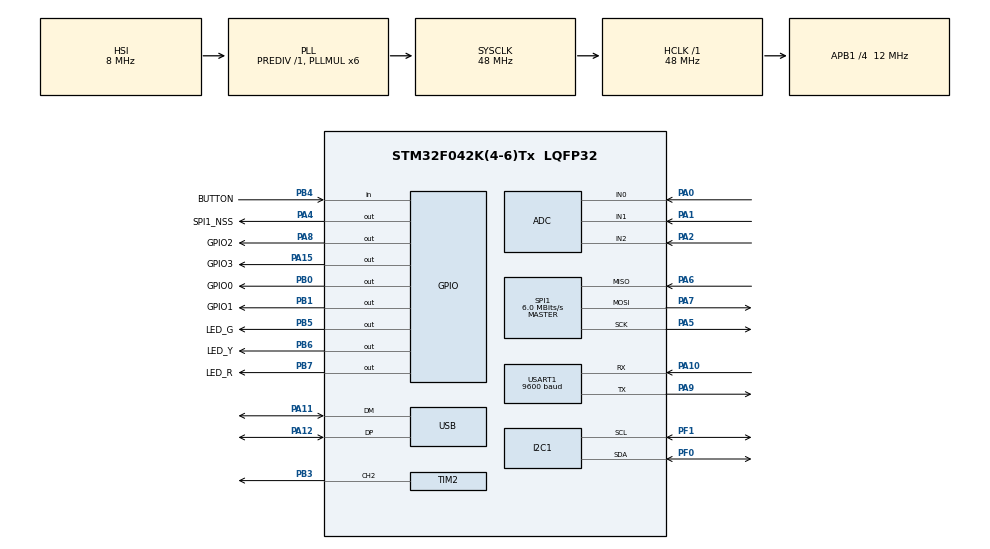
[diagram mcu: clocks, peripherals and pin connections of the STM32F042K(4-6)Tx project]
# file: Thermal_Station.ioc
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Dma.ADC.0.Direction=DMA_PERIPH_TO_MEMORY
Dma.ADC.0.Instance=DMA1_Channel1
Dma.ADC.0.MemDataAlignment=DMA_MDATAALIGN_HALFWORD
Dma.ADC.0.MemInc=DMA_MINC_ENABLE
Dma.ADC.0.Mode=DMA_CIRCULAR
Dma.ADC.0.PeriphDataAlignment=DMA_PDATAALIGN_HALFWORD
Dma.ADC.0.PeriphInc=DMA_PINC_DISABLE
Dma.ADC.0.Priority=DMA_PRIORITY_LOW
Dma.Request0=ADC
I2C1.Timing=0x00201D2B
Mcu.Family=STM32F0
Mcu.Name=STM32F042K(4-6)Tx
Mcu.Package=LQFP32
NVIC.DMA1_Channel1_IRQn=true\:0\:0\:false\:false\:true\:false\:true\:true
NVIC.TIM16_IRQn=true\:0\:0\:false\:false\:true\:true\:true\:true
NVIC.TIM2_IRQn=true\:0\:0\:false\:false\:true\:true\:true\:true
NVIC.USART1_IRQn=true\:0\:0\:false\:false\:true\:true\:true\:true
PA0.Mode=IN0
PA0.Signal=ADC_IN0
PA1.Mode=IN1
PA1.Signal=ADC_IN1
PA10.Mode=Asynchronous
PA10.Signal=USART1_RX
PA11.Mode=Device
PA11.Signal=USB_DM
PA12.Mode=Device
PA12.Signal=USB_DP
PA15.GPIO_Label=GPIO3
PA15.Signal=GPIO_Output
PA2.Mode=IN2
PA2.Signal=ADC_IN2
PA4.GPIO_Label=SPI1_NSS
PA4.Signal=GPIO_Output
PA5.Mode=Full_Duplex_Master
PA5.Signal=SPI1_SCK
PA6.Mode=Full_Duplex_Master
PA6.Signal=SPI1_MISO
PA7.Mode=Full_Duplex_Master
PA7.Signal=SPI1_MOSI
PA8.GPIO_Label=GPIO2
PA8.Signal=GPIO_Output
PA9.Mode=Asynchronous
PA9.Signal=USART1_TX
PB0.GPIO_Label=GPIO0
PB0.Signal=GPIO_Output
PB1.GPIO_Label=GPIO1
PB1.Signal=GPIO_Output
PB3.Signal=S_TIM2_CH2
PB4.GPIO_Label=BUTTON
PB4.Signal=GPIO_Input
PB5.GPIO_Label=LED_G
PB5.Signal=GPIO_Output
PB6.GPIO_Label=LED_Y
PB6.Signal=GPIO_Output
PB7.GPIO_Label=LED_R
PB7.Signal=GPIO_Output
PF0-OSC_IN.Mode=I2C
PF0-OSC_IN.Signal=I2C1_SDA
PF1-OSC_OUT.Mode=I2C
PF1-OSC_OUT.Signal=I2C1_SCL
ProjectManager.HeapSize=0x200
ProjectManager.StackSize=0x400
ProjectManager.TargetToolchain=STM32CubeIDE
RCC.AHBFreq_Value=48000000
RCC.APB1CLKDivider=RCC_HCLK_DIV4
RCC.APB1Freq_Value=12000000
RCC.APB1TimFreq_Value=24000000
RCC.HCLKFreq_Value=48000000
RCC.PLLMUL=RCC_PLL_MUL6
RCC.SYSCLKFreq_VALUE=48000000
RCC.SYSCLKSource=RCC_SYSCLKSOURCE_PLLCLK
SH.S_TIM2_CH2.0=TIM2_CH2,PWM Generation2 CH2
SPI1.CLKPhase=SPI_PHASE_2EDGE
SPI1.CLKPolarity=SPI_POLARITY_LOW
SPI1.CalculateBaudRate=6.0 MBits/s
SPI1.DataSize=SPI_DATASIZE_8BIT
SPI1.Direction=SPI_DIRECTION_2LINES
SPI1.Mode=SPI_MODE_MASTER
SPI1.VirtualType=VM_MASTER
TIM16.AutoReloadPreload=TIM_AUTORELOAD_PRELOAD_ENABLE
TIM16.Period=23999
TIM16.Prescaler=999
TIM2.Channel-PWM\ Generation2\ CH2=TIM_CHANNEL_2
TIM2.Period=99
TIM2.Prescaler=239
TIM2.Pulse-PWM\ Generation2\ CH2=1
USART1.BaudRate=9600
USART1.VirtualMode-Asynchronous=VM_ASYNC
VP_TIM16_VS_ClockSourceINT.Mode=Enable_Timer
board=custom

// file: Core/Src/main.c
/* USER CODE BEGIN Header */
/**
  ******************************************************************************
  * @file           : main.c
  * @brief          : Main program body
  ******************************************************************************
  * @attention
  *
  * Copyright (c) 2025 STMicroelectronics.
  * All rights reserved.
  *
  * This software is licensed under terms that can be found in the LICENSE file
  * in the root directory of this software component.
  * If no LICENSE file comes with this software, it is provided AS-IS.
  *
  * implementare sensore temperatura spi
  * implementare pwm to sin
  * implementare gpio expander
  * implementare sdcard
  ******************************************************************************
  */
/* USER CODE END Header */
#include "main.h"
#include "adc.h"
#include "dma.h"
#include "i2c.h"
#include "spi.h"
#include "tim.h"
#include "usart.h"
#include "usb.h"
#include "gpio.h"

/* USER CODE BEGIN Includes */
#include "uart_ble.h"
#include "tsens.h"
#include <string.h>
#include <stdio.h>
#include <stdlib.h>
#include <stdbool.h>
/* USER CODE END Includes */

/* USER CODE BEGIN PTD */
extern TIM_HandleTypeDef htim16;
extern TIM_HandleTypeDef htim2;
/* USER CODE END PTD */

/* USER CODE BEGIN PV */
uint32_t value_adc;
uint32_t value_dac=0;
extern uint8_t tsens_flag_analizer;
uint8_t msgbuffer [25] = {0};
#define maxperiod 100
#define minperiod 1
uint32_t period_t2 = 1;
bool pwm_flag = true;
/* USER CODE END PV */

void SystemClock_Config(void);
/* USER CODE BEGIN PFP */
bool cmd_command_analizing(uint8_t *cmd);
/* USER CODE END PFP */

/* USER CODE BEGIN 0 */
extern ADC_HandleTypeDef hadc;
extern UART_HandleTypeDef huart1;
extern SPI_HandleTypeDef hspi1;
extern TIM_HandleTypeDef htim2;

void pwm_for_sin(){
	if (pwm_flag == true){
		if (period_t2 < maxperiod){
			period_t2 ++;
		}else{
			period_t2 --;
			pwm_flag = false;
		}
		__HAL_TIM_SET_COMPARE(&htim2, TIM_CHANNEL_2, period_t2);
	}else{
		if (period_t2 > minperiod){
			period_t2 --;
		}else{
			period_t2 ++;
			pwm_flag = true;
		}
		__HAL_TIM_SET_COMPARE(&htim2, TIM_CHANNEL_2, period_t2);
	}
	/*
	if (value == 0){
		HAL_TIM_Base_Stop_IT(&htim2);
		HAL_TIM_OC_Stop_IT(&htim2, TIM_CHANNEL_1);
	}
	else if(value<=100){
		HAL_TIM_Base_Start_IT(&htim2);
		HAL_TIM_OC_Start_IT(&htim2, TIM_CHANNEL_1);
		__HAL_TIM_SET_COMPARE(&htim2, TIM_CHANNEL_1, value-1);
		led1_brightness = value;
	}*/
}

/* USER CODE END 0 */

int main(void)
{

  /* MCU Configuration--------------------------------------------------------*/

  /* Reset of all peripherals, Initializes the Flash interface and the Systick. */
  HAL_Init();

  /* Configure the system clock */
  SystemClock_Config();

  /* Initialize all configured peripherals */
  MX_GPIO_Init();
  MX_DMA_Init();
  MX_ADC_Init();
  MX_I2C1_Init();
  MX_SPI1_Init();
  MX_USART1_UART_Init();
  MX_USB_PCD_Init();
  MX_TIM16_Init();
  MX_TIM2_Init();

  /* Infinite loop */
  /* USER CODE BEGIN WHILE */
  uint8_t command[100];
  uart_ble_init(&huart1);
  uart_ble_transmit((uint8_t*)"status ok");
  analog_tsens_init(&hadc, ADC_CHANNEL_0);
  HAL_TIM_Base_Start_IT(&htim16);
  HAL_TIM_Base_Start_IT(&htim2);
  HAL_TIM_PWM_Start_IT(&htim2, TIM_CHANNEL_2);

  while (1)
  {
	  if (tsens_flag_analizer == 1){

	  }
	  if (uart_ble_pop_cmd(command) == true){
		  cmd_command_analizing(command);
	  }

    /* USER CODE END WHILE */

  }
}

void SystemClock_Config(void)
{
  RCC_OscInitTypeDef RCC_OscInitStruct = {0};
  RCC_ClkInitTypeDef RCC_ClkInitStruct = {0};
  RCC_PeriphCLKInitTypeDef PeriphClkInit = {0};

  /** Initializes the RCC Oscillators according to the specified parameters
  * in the RCC_OscInitTypeDef structure.
  */
  RCC_OscInitStruct.OscillatorType = RCC_OSCILLATORTYPE_HSI|RCC_OSCILLATORTYPE_HSI14
                              |RCC_OSCILLATORTYPE_HSI48;
  RCC_OscInitStruct.HSIState = RCC_HSI_ON;
  RCC_OscInitStruct.HSI48State = RCC_HSI48_ON;
  RCC_OscInitStruct.HSI14State = RCC_HSI14_ON;
  RCC_OscInitStruct.HSICalibrationValue = RCC_HSICALIBRATION_DEFAULT;
  RCC_OscInitStruct.HSI14CalibrationValue = 16;
  RCC_OscInitStruct.PLL.PLLState = RCC_PLL_ON;
  RCC_OscInitStruct.PLL.PLLSource = RCC_PLLSOURCE_HSI;
  RCC_OscInitStruct.PLL.PLLMUL = RCC_PLL_MUL6;
  RCC_OscInitStruct.PLL.PREDIV = RCC_PREDIV_DIV1;
  if (HAL_RCC_OscConfig(&RCC_OscInitStruct) != HAL_OK)
  {
    Error_Handler();
  }

  /** Initializes the CPU, AHB and APB buses clocks
  */
  RCC_ClkInitStruct.ClockType = RCC_CLOCKTYPE_HCLK|RCC_CLOCKTYPE_SYSCLK
                              |RCC_CLOCKTYPE_PCLK1;
  RCC_ClkInitStruct.SYSCLKSource = RCC_SYSCLKSOURCE_PLLCLK;
  RCC_ClkInitStruct.AHBCLKDivider = RCC_SYSCLK_DIV1;
  RCC_ClkInitStruct.APB1CLKDivider = RCC_HCLK_DIV4;

  if (HAL_RCC_ClockConfig(&RCC_ClkInitStruct, FLASH_LATENCY_1) != HAL_OK)
  {
    Error_Handler();
  }
  PeriphClkInit.PeriphClockSelection = RCC_PERIPHCLK_USB|RCC_PERIPHCLK_USART1
                              |RCC_PERIPHCLK_I2C1;
  PeriphClkInit.Usart1ClockSelection = RCC_USART1CLKSOURCE_PCLK1;
  PeriphClkInit.I2c1ClockSelection = RCC_I2C1CLKSOURCE_HSI;
  PeriphClkInit.UsbClockSelection = RCC_USBCLKSOURCE_HSI48;

  if (HAL_RCCEx_PeriphCLKConfig(&PeriphClkInit) != HAL_OK)
  {
    Error_Handler();
  }
}

/* USER CODE BEGIN 4 */

bool cmd_command_analizing(uint8_t *cmd){
	if (strncmp((char*)cmd, (char*)"redLED : on", strlen((char*)cmd)) == 0){
		HAL_GPIO_WritePin(LED_R_GPIO_Port, LED_R_Pin, GPIO_PIN_SET);
		return true;
	}else if (strncmp((char*)cmd, (char*)"greenLED : on", strlen((char*)cmd)) == 0){
		HAL_GPIO_WritePin(LED_G_GPIO_Port, LED_G_Pin, GPIO_PIN_SET);
		return true;
	}else if (strncmp((char*)cmd, (char*)"yellowLED : on", strlen((char*)cmd)) == 0){
		HAL_GPIO_WritePin(LED_Y_GPIO_Port, LED_Y_Pin, GPIO_PIN_SET);
		return true;
	}else if (strncmp((char*)cmd, (char*)"redLED : off", strlen((char*)cmd)) == 0){
		HAL_GPIO_WritePin(LED_R_GPIO_Port, LED_R_Pin, GPIO_PIN_RESET);
		return true;
	}else if (strncmp((char*)cmd, (char*)"greenLED : off", strlen((char*)cmd)) == 0){
		HAL_GPIO_WritePin(LED_G_GPIO_Port, LED_G_Pin, GPIO_PIN_RESET);
		return true;
	}else if (strncmp((char*)cmd, (char*)"yellowLED : off", strlen((char*)cmd)) == 0){
		HAL_GPIO_WritePin(LED_Y_GPIO_Port, LED_Y_Pin, GPIO_PIN_RESET);
		return true;
	}else if (strncmp((char*)cmd, (char*)"LEDs toggled", strlen((char*)cmd)) == 0){
		HAL_GPIO_TogglePin(LED_R_GPIO_Port, LED_R_Pin);
		HAL_GPIO_TogglePin(LED_G_GPIO_Port, LED_G_Pin);
		HAL_GPIO_TogglePin(LED_Y_GPIO_Port, LED_Y_Pin);
		return true;
	}else if (strncmp((char*)cmd, (char*)"AnalogSensor Temp value =", strlen((char*)cmd)) == 0){
		uint32_t temp = get_analog_tsens();
		sprintf((char*)&msgbuffer, "T: %u,%u °C\n", (unsigned int)(temp/100), (unsigned int)(temp%100));

		//sprintf((char*)&msgbuffer, "T: %u,%u °C\n", (unsigned int)(temp/100), (unsigned int)(temp%100));
		uart_ble_transmit((uint8_t*)msgbuffer);
		//HAL_Delay(100);
		//uart_ble_transmit((uint8_t*)"ma porca la puttana ladra");

	}else if (strncmp((char*)cmd, (char*)"DigitalSensor Temp value =", strlen((char*)cmd)) == 0){
		uart_ble_transmit((uint8_t*)"digital ok");
		return true;
	}else if (strncmp((char*)cmd, (char*)"TBD =", strlen((char*)cmd)) == 0){
		uart_ble_transmit((uint8_t*)"tbd ok");
		return true;
	}else {
		return false;
	}
	return false;
}

/* USER CODE END 4 */

void Error_Handler(void)
{
  __disable_irq();
  while (1)
  {
  }
}
